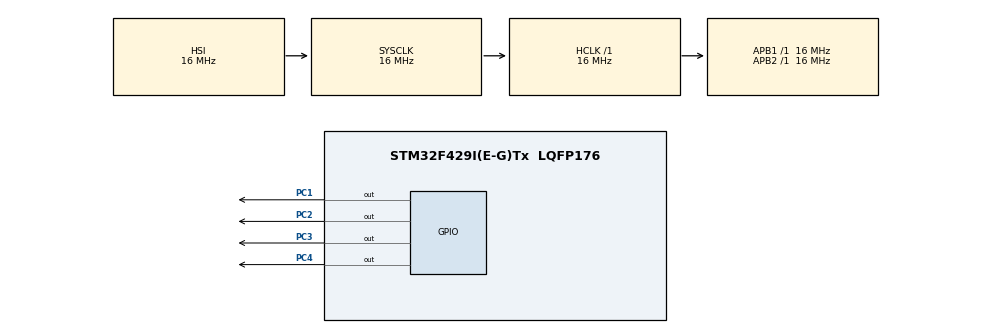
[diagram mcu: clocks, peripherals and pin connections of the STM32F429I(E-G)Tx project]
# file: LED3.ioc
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Mcu.Family=STM32F4
Mcu.Name=STM32F429I(E-G)Tx
Mcu.Package=LQFP176
NVIC.PriorityGroup=NVIC_PRIORITYGROUP_4
PC1.Signal=GPIO_Output
PC2.Signal=GPIO_Output
PC3.Signal=GPIO_Output
PC4.Signal=GPIO_Output
ProjectManager.HeapSize=0x200
ProjectManager.StackSize=0x400
ProjectManager.TargetToolchain=MDK-ARM V5.32
RCC.AHBFreq_Value=16000000
RCC.APB1Freq_Value=16000000
RCC.APB2Freq_Value=16000000
RCC.CortexFreq_Value=16000000
RCC.HSE_VALUE=25000000
RCC.HSI_VALUE=16000000
RCC.LSE_VALUE=32768
RCC.SYSCLKFreq_VALUE=16000000
RCC.VCOOutputFreq_Value=192000000
board=custom

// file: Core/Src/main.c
/* USER CODE BEGIN Header */
/**
  ******************************************************************************
  * @file           : main.c
  * @brief          : Main program body
  ******************************************************************************
  * @attention
  *
  * Copyright (c) 2024 STMicroelectronics.
  * All rights reserved.
  *
  * This software is licensed under terms that can be found in the LICENSE file
  * in the root directory of this software component.
  * If no LICENSE file comes with this software, it is provided AS-IS.
  *
  ******************************************************************************
  */
/* USER CODE END Header */
#include "main.h"
#include "gpio.h"

void SystemClock_Config(void);

int main(void)
{

  /* MCU Configuration--------------------------------------------------------*/

  /* Reset of all peripherals, Initializes the Flash interface and the Systick. */
  HAL_Init();

  /* Configure the system clock */
  SystemClock_Config();

  /* Initialize all configured peripherals */
  MX_GPIO_Init();

  /* Infinite loop */
  /* USER CODE BEGIN WHILE */
  while (1)
  {
		HAL_GPIO_WritePin(GPIOC,GPIO_PIN_1,GPIO_PIN_SET);
		HAL_Delay(1000);
		HAL_GPIO_WritePin(GPIOC,GPIO_PIN_1,GPIO_PIN_RESET);
		HAL_Delay(1000);
		HAL_GPIO_WritePin(GPIOC,GPIO_PIN_2,GPIO_PIN_SET);
		HAL_Delay(1000);
		HAL_GPIO_WritePin(GPIOC,GPIO_PIN_2,GPIO_PIN_RESET);
		HAL_Delay(1000);
		HAL_GPIO_WritePin(GPIOC,GPIO_PIN_3,GPIO_PIN_SET);
		HAL_Delay(1000);
		HAL_GPIO_WritePin(GPIOC,GPIO_PIN_3,GPIO_PIN_RESET);
		HAL_Delay(1000);
		HAL_GPIO_WritePin(GPIOC,GPIO_PIN_4,GPIO_PIN_SET);
		HAL_Delay(1000);
		HAL_GPIO_WritePin(GPIOC,GPIO_PIN_4,GPIO_PIN_RESET);
		HAL_Delay(1000);
    /* USER CODE END WHILE */

  }
}

void SystemClock_Config(void)
{
  RCC_OscInitTypeDef RCC_OscInitStruct = {0};
  RCC_ClkInitTypeDef RCC_ClkInitStruct = {0};

  /** Configure the main internal regulator output voltage
  */
  __HAL_RCC_PWR_CLK_ENABLE();
  __HAL_PWR_VOLTAGESCALING_CONFIG(PWR_REGULATOR_VOLTAGE_SCALE3);

  /** Initializes the RCC Oscillators according to the specified parameters
  * in the RCC_OscInitTypeDef structure.
  */
  RCC_OscInitStruct.OscillatorType = RCC_OSCILLATORTYPE_HSI;
  RCC_OscInitStruct.HSIState = RCC_HSI_ON;
  RCC_OscInitStruct.HSICalibrationValue = RCC_HSICALIBRATION_DEFAULT;
  RCC_OscInitStruct.PLL.PLLState = RCC_PLL_NONE;
  if (HAL_RCC_OscConfig(&RCC_OscInitStruct) != HAL_OK)
  {
    Error_Handler();
  }

  /** Initializes the CPU, AHB and APB buses clocks
  */
  RCC_ClkInitStruct.ClockType = RCC_CLOCKTYPE_HCLK|RCC_CLOCKTYPE_SYSCLK
                              |RCC_CLOCKTYPE_PCLK1|RCC_CLOCKTYPE_PCLK2;
  RCC_ClkInitStruct.SYSCLKSource = RCC_SYSCLKSOURCE_HSI;
  RCC_ClkInitStruct.AHBCLKDivider = RCC_SYSCLK_DIV1;
  RCC_ClkInitStruct.APB1CLKDivider = RCC_HCLK_DIV1;
  RCC_ClkInitStruct.APB2CLKDivider = RCC_HCLK_DIV1;

  if (HAL_RCC_ClockConfig(&RCC_ClkInitStruct, FLASH_LATENCY_0) != HAL_OK)
  {
    Error_Handler();
  }
}

void Error_Handler(void)
{
  __disable_irq();
  while (1)
  {
  }
}
